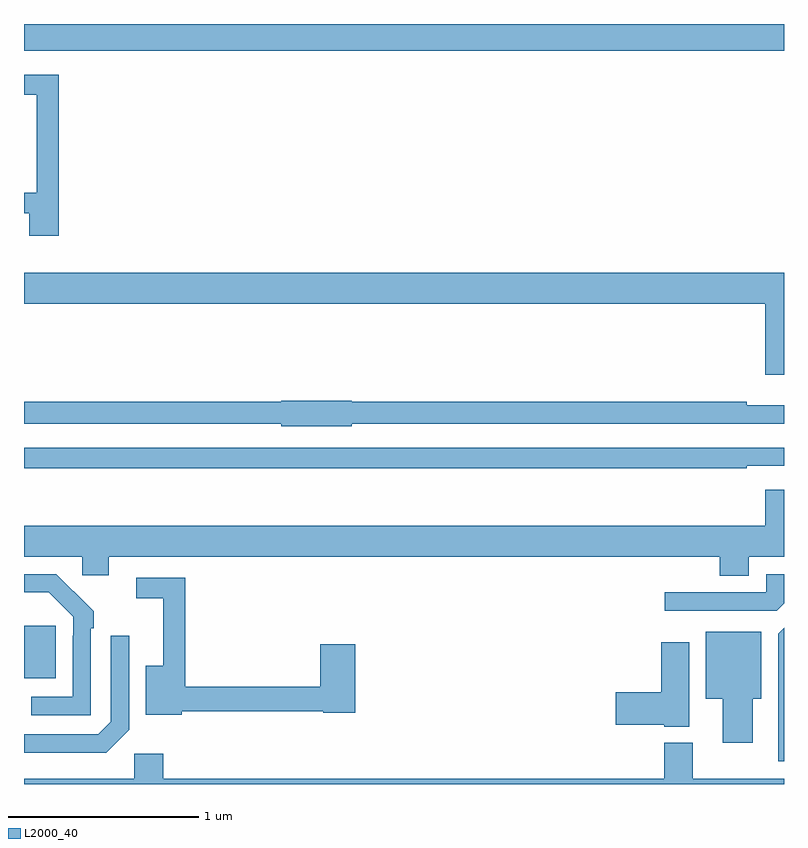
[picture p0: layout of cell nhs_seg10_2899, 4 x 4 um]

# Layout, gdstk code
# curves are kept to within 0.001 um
import gdstk
lib = gdstk.Library(unit=1e-6, precision=1e-09)
def R(c, l, rs):  # rectangles x0, y0, x1, y1
    for r in rs: c.add(gdstk.rectangle(r[:2], r[2:], *l))
def P(c, l, *ps):  # polygons
    for p in ps: c.add(gdstk.Polygon(p, *l))
L2000_40 = (2000, 40)

nhs_seg10_2899 = lib.new_cell('nhs_seg10_2899')
R(nhs_seg10_2899, L2000_40, [(269,1253.057,269.167,1253.332), (269,1256.36,273,1256.5)])
P(nhs_seg10_2899, L2000_40, [(269.183,1256.233),(269,1256.233),(269,1256.127),(269.067,1256.127),(269.067,1255.611),(269,1255.611),(269,1255.503),(269.027,1255.503),(269.027,1255.386),(269.183,1255.386)],
  [(273,1255.192),(269,1255.192),(269,1255.028),(272.9,1255.028),(272.9,1254.654),(273,1254.654)],
  [(270.726,1254.396),(273,1254.396),(273,1254.493),(272.804,1254.493),(272.804,1254.512),(270.726,1254.512),(270.726,1254.518),(270.354,1254.518),(270.354,1254.512),(269,1254.512),(269,1254.396),(270.354,1254.396),(270.354,1254.383),(270.726,1254.383)],
  [(272.804,1254.174),(273,1254.174),(273,1254.27),(269,1254.27),(269,1254.162),(272.804,1254.162)],
  [(272.815,1253.696),(273,1253.696),(273,1254.049),(272.9,1254.049),(272.9,1253.86),(269,1253.86),(269,1253.696),(269.307,1253.696),(269.307,1253.598),(269.446,1253.598),(269.446,1253.696),(272.663,1253.696),(272.663,1253.597),(272.815,1253.597)],
  [(273,1253.451),(273,1253.604),(272.907,1253.604),(272.907,1253.508),(272.373,1253.508),(272.373,1253.412),(272.961,1253.412)],
  [(269.352,1253.321),(269.367,1253.321),(269.367,1253.409),(269.17,1253.604),(269,1253.604),(269,1253.508),(269.131,1253.508),(269.259,1253.379),(269.259,1253.279),(269.256,1253.279),(269.256,1252.959),(269.037,1252.959),(269.037,1252.863),(269.352,1252.863)],
  [(269.83,1252.884),(270.576,1252.884),(270.576,1252.876),(270.743,1252.876),(270.743,1253.236),(270.56,1253.236),(270.56,1253.012),(269.849,1253.012),(269.849,1253.586),(269.592,1253.586),(269.592,1253.478),(269.732,1253.478),(269.732,1253.122),(269.642,1253.122),(269.642,1252.865),(269.83,1252.865)],
  [(273,1253.322),(272.969,1253.291),(272.969,1252.619),(273,1252.619)],
  [(272.836,1252.949),(272.881,1252.949),(272.881,1253.302),(272.588,1253.302),(272.588,1252.949),(272.678,1252.949),(272.678,1252.716),(272.836,1252.716)],
  [(269.553,1252.785),(269.553,1253.281),(269.457,1253.281),(269.457,1252.827),(269.391,1252.761),(269,1252.761),(269,1252.664),(269.432,1252.664)],
  [(272.5,1253.245),(272.354,1253.245),(272.354,1252.982),(272.115,1252.982),(272.115,1252.811),(272.37,1252.811),(272.37,1252.802),(272.5,1252.802)],
  [(273,1252.528),(272.521,1252.528),(272.521,1252.717),(272.369,1252.717),(272.369,1252.528),(269.732,1252.528),(269.732,1252.66),(269.58,1252.66),(269.58,1252.528),(269,1252.528),(269,1252.5),(273,1252.5)])

lib.write_gds('nhs_seg10_2899.gds')
